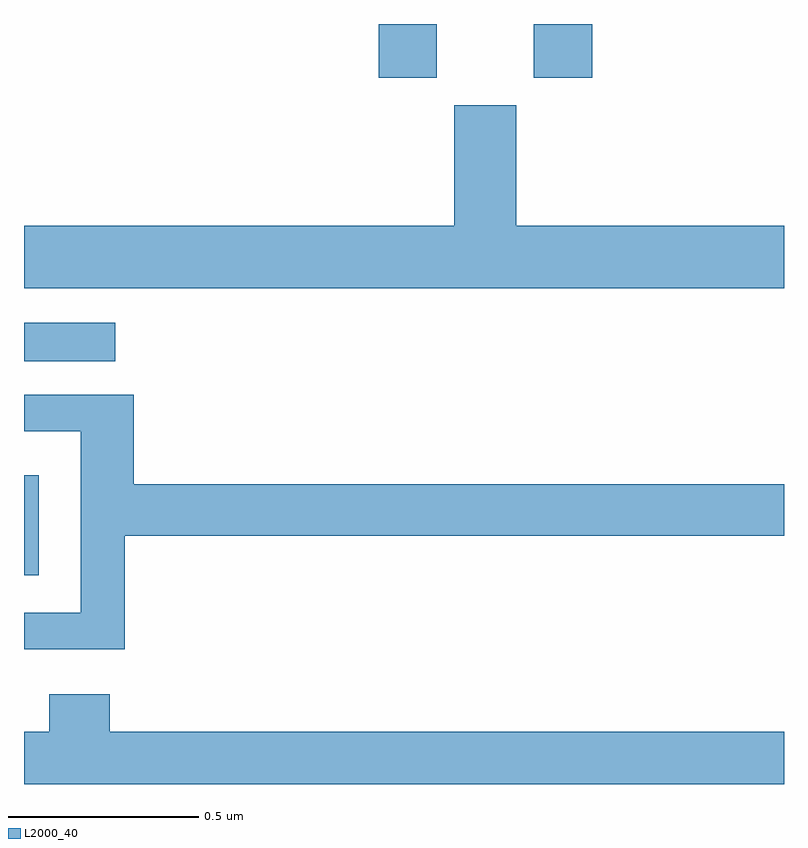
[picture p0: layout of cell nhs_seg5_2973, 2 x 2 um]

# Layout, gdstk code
import gdstk
lib = gdstk.Library(unit=1e-6, precision=1e-09)
def R(c, l, rs):  # rectangles x0, y0, x1, y1
    for r in rs: c.add(gdstk.rectangle(r[:2], r[2:], *l))
def P(c, l, *ps):  # polygons
    for p in ps: c.add(gdstk.Polygon(p, *l))
L2000_40 = (2000, 40)

nhs_seg5_2973 = lib.new_cell('nhs_seg5_2973')
R(nhs_seg5_2973, L2000_40, [(151,845.348,151.039,845.611), (151,845.912,151.24,846.013), (151.934,846.657,152.086,846.799), (152.342,846.657,152.495,846.799)])
P(nhs_seg5_2973, L2000_40, [(153,846.268),(152.296,846.268),(152.296,846.585),(152.132,846.585),(152.132,846.268),(151,846.268),(151,846.104),(153,846.104)],
  [(151.265,845.452),(153,845.452),(153,845.588),(151.289,845.588),(151.289,845.823),(151,845.823),(151,845.727),(151.149,845.727),(151.149,845.25),(151,845.25),(151,845.154),(151.265,845.154)],
  [(153,844.936),(151.226,844.936),(151.226,845.035),(151.066,845.035),(151.066,844.936),(151,844.936),(151,844.799),(153,844.799)])

lib.write_gds('nhs_seg5_2973.gds')
